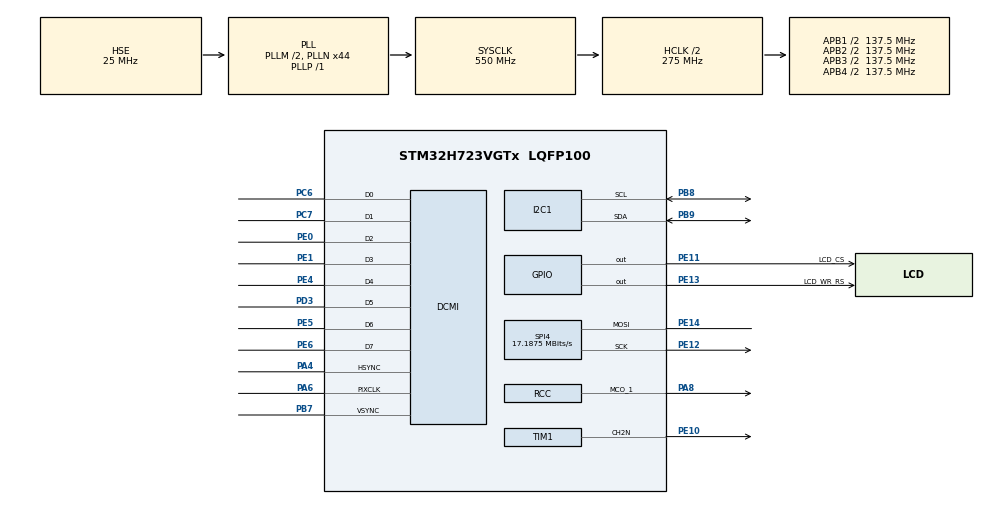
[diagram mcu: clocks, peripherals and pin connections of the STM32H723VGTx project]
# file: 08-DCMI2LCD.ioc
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CORTEX_M7.CPU_DCache=Enabled
CORTEX_M7.CPU_ICache=Enabled
CORTEX_M7.MPU_Control=__NULL
DCMI.CaptureRate=DCMI_CR_ALL_FRAME
DCMI.PCKPolarity=DCMI_PCKPOLARITY_RISING
Dma.DCMI.0.Direction=DMA_PERIPH_TO_MEMORY
Dma.DCMI.0.EventEnable=DISABLE
Dma.DCMI.0.FIFOMode=DMA_FIFOMODE_DISABLE
Dma.DCMI.0.Instance=DMA1_Stream0
Dma.DCMI.0.MemDataAlignment=DMA_MDATAALIGN_WORD
Dma.DCMI.0.MemInc=DMA_MINC_ENABLE
Dma.DCMI.0.Mode=DMA_CIRCULAR
Dma.DCMI.0.PeriphDataAlignment=DMA_PDATAALIGN_WORD
Dma.DCMI.0.PeriphInc=DMA_PINC_DISABLE
Dma.DCMI.0.Polarity=HAL_DMAMUX_REQ_GEN_RISING
Dma.DCMI.0.Priority=DMA_PRIORITY_MEDIUM
Dma.DCMI.0.RequestNumber=1
Dma.DCMI.0.SignalID=NONE
Dma.DCMI.0.SyncEnable=DISABLE
Dma.DCMI.0.SyncPolarity=HAL_DMAMUX_SYNC_NO_EVENT
Dma.DCMI.0.SyncRequestNumber=1
Dma.DCMI.0.SyncSignalID=NONE
Dma.Request0=DCMI
I2C1.Timing=0x60404E72
Mcu.Family=STM32H7
Mcu.Name=STM32H723VGTx
Mcu.Package=LQFP100
NVIC.DCMI_PSSI_IRQn=true\:0\:0\:false\:false\:true\:true\:true\:true
NVIC.DMA1_Stream0_IRQn=true\:0\:0\:false\:false\:true\:false\:true\:true
NVIC.PriorityGroup=NVIC_PRIORITYGROUP_4
PA13(JTMS/SWDIO).Mode=Serial_Wire
PA13(JTMS/SWDIO).Signal=DEBUG_JTMS-SWDIO
PA14(JTCK/SWCLK).Mode=Serial_Wire
PA14(JTCK/SWCLK).Signal=DEBUG_JTCK-SWCLK
PA4.Mode=Slave_8_bits_External_Synchro
PA4.Signal=DCMI_HSYNC
PA6.Mode=Slave_8_bits_External_Synchro
PA6.Signal=DCMI_PIXCLK
PA8.Mode=Clock-out-1
PA8.Signal=RCC_MCO_1
PB7.Mode=Slave_8_bits_External_Synchro
PB7.Signal=DCMI_VSYNC
PB8.Mode=I2C
PB8.Signal=I2C1_SCL
PB9.Mode=I2C
PB9.Signal=I2C1_SDA
PC14-OSC32_IN.Mode=LSE-External-Oscillator
PC14-OSC32_IN.Signal=RCC_OSC32_IN
PC15-OSC32_OUT.Mode=LSE-External-Oscillator
PC15-OSC32_OUT.Signal=RCC_OSC32_OUT
PC6.Mode=Slave_8_bits_External_Synchro
PC6.Signal=DCMI_D0
PC7.Mode=Slave_8_bits_External_Synchro
PC7.Signal=DCMI_D1
PD3.Mode=Slave_8_bits_External_Synchro
PD3.Signal=DCMI_D5
PE0.Mode=Slave_8_bits_External_Synchro
PE0.Signal=DCMI_D2
PE1.Mode=Slave_8_bits_External_Synchro
PE1.Signal=DCMI_D3
PE10.Mode=PWM Generation2 CH2N
PE10.Signal=TIM1_CH2N
PE11.GPIO_Label=LCD_CS
PE11.GPIO_Speed=GPIO_SPEED_FREQ_MEDIUM
PE11.Signal=GPIO_Output
PE12.GPIO_Speed=GPIO_SPEED_FREQ_MEDIUM
PE12.Mode=Simplex_Bidirectional_Master
PE12.Signal=SPI4_SCK
PE13.GPIO_Label=LCD_WR_RS
PE13.GPIO_Speed=GPIO_SPEED_FREQ_MEDIUM
PE13.Signal=GPIO_Output
PE14.GPIO_Speed=GPIO_SPEED_FREQ_MEDIUM
PE14.Mode=Simplex_Bidirectional_Master
PE14.Signal=SPI4_MOSI
PE4.Mode=Slave_8_bits_External_Synchro
PE4.Signal=DCMI_D4
PE5.Mode=Slave_8_bits_External_Synchro
PE5.Signal=DCMI_D6
PE6.Mode=Slave_8_bits_External_Synchro
PE6.Signal=DCMI_D7
PH0-OSC_IN.Mode=HSE-External-Oscillator
PH0-OSC_IN.Signal=RCC_OSC_IN
PH1-OSC_OUT.Mode=HSE-External-Oscillator
PH1-OSC_OUT.Signal=RCC_OSC_OUT
ProjectManager.HeapSize=0x800
ProjectManager.StackSize=0x1000
ProjectManager.TargetToolchain=STM32CubeIDE
RCC.ADCFreq_Value=50390625
RCC.APB1Freq_Value=137500000
RCC.APB2Freq_Value=137500000
RCC.APB3Freq_Value=137500000
RCC.APB4Freq_Value=137500000
RCC.CortexFreq_Value=550000000
RCC.D1PPRE=RCC_APB3_DIV2
RCC.D2PPRE1=RCC_APB1_DIV2
RCC.D2PPRE2=RCC_APB2_DIV2
RCC.D3PPRE=RCC_APB4_DIV2
RCC.DIVM1=2
RCC.DIVN1=44
RCC.DIVP1=1
RCC.DIVQ1=46
RCC.HCLKFreq_Value=275000000
RCC.HPRE=RCC_HCLK_DIV2
RCC.PLLFRACN=0
RCC.PLLSourceVirtual=RCC_PLLSOURCE_HSE
RCC.RCC_MCO1Source=RCC_MCO1SOURCE_HSI48
RCC.RCC_MCODiv1=RCC_MCODIV_4
RCC.RTCClockSelection=RCC_RTCCLKSOURCE_LSE
RCC.SYSCLKFreq_VALUE=550000000
RCC.SYSCLKSource=RCC_SYSCLKSOURCE_PLLCLK
RCC.USBFreq_Value=11956521.739130436
SPI4.BaudRatePrescaler=SPI_BAUDRATEPRESCALER_8
SPI4.CalculateBaudRate=17.1875 MBits/s
SPI4.DataSize=SPI_DATASIZE_8BIT
SPI4.Direction=SPI_DIRECTION_1LINE
SPI4.Mode=SPI_MODE_MASTER
SPI4.VirtualType=VM_MASTER
STMicroelectronics.X-CUBE-AI.10.2.0.ActivationBufferSizeList=68096
STMicroelectronics.X-CUBE-AI.10.2.0.ActivationBuffers=pool0
STMicroelectronics.X-CUBE-AI.10.2.0.ActivationNames=pool0
STMicroelectronics.X-CUBE-AI.10.2.0.ActivationSizes=AI_NETWORK_DATA_ACTIVATION_1_SIZE
STMicroelectronics.X-CUBE-AI.10.2.0.ApplicationCcDeviceJjApplication=ApplicationTemplate
STMicroelectronics.X-CUBE-AI.10.2.0.HeapSize=0x800
STMicroelectronics.X-CUBE-AI.10.2.0.InternalRamActivationBufferMaxSize=AI_NETWORK_DATA_ACTIVATIONS_SIZE
STMicroelectronics.X-CUBE-AI.10.2.0.LatestDirectoryUsed-fdd91566d310f4b835b26cfef3370c3eb53864cccbebf628a0d2026c270c2431=E\:\\MK Detection
STMicroelectronics.X-CUBE-AI.10.2.0.MaximumNumberOfInputLayer=1
STMicroelectronics.X-CUBE-AI.10.2.0.MaximumNumberOfOutputLayer=1
STMicroelectronics.X-CUBE-AI.10.2.0.ModelActualCompression-fdd91566d310f4b835b26cfef3370c3eb53864cccbebf628a0d2026c270c2431=0.0
STMicroelectronics.X-CUBE-AI.10.2.0.ModelCompression-fdd91566d310f4b835b26cfef3370c3eb53864cccbebf628a0d2026c270c2431=None
STMicroelectronics.X-CUBE-AI.10.2.0.ModelFlashOccupation-fdd91566d310f4b835b26cfef3370c3eb53864cccbebf628a0d2026c270c2431=40656
STMicroelectronics.X-CUBE-AI.10.2.0.ModelHashList=fdd91566d310f4b835b26cfef3370c3eb53864cccbebf628a0d2026c270c2431
STMicroelectronics.X-CUBE-AI.10.2.0.ModelKind-fdd91566d310f4b835b26cfef3370c3eb53864cccbebf628a0d2026c270c2431=TFLITE
STMicroelectronics.X-CUBE-AI.10.2.0.ModelMacc-fdd91566d310f4b835b26cfef3370c3eb53864cccbebf628a0d2026c270c2431=0
STMicroelectronics.X-CUBE-AI.10.2.0.ModelName-fdd91566d310f4b835b26cfef3370c3eb53864cccbebf628a0d2026c270c2431=network
STMicroelectronics.X-CUBE-AI.10.2.0.ModelNameList=network
STMicroelectronics.X-CUBE-AI.10.2.0.ModelRamOccupation-fdd91566d310f4b835b26cfef3370c3eb53864cccbebf628a0d2026c270c2431=68096
STMicroelectronics.X-CUBE-AI.10.2.0.ModelStructureFile-fdd91566d310f4b835b26cfef3370c3eb53864cccbebf628a0d2026c270c2431=E\:\\MK Detection\\mnist_detector_quant.tflite
STMicroelectronics.X-CUBE-AI.10.2.0.ModelType-fdd91566d310f4b835b26cfef3370c3eb53864cccbebf628a0d2026c270c2431=TFLite Micro runtime
STMicroelectronics.X-CUBE-AI.10.2.0.ReadyForCodeGeneration=true
STMicroelectronics.X-CUBE-AI.10.2.0.StackSize=0x1000
STMicroelectronics.X-CUBE-AI.10.2.0.WorkingBufferStartAddrList=0xFFFFFFFF
STMicroelectronics.X-CUBE-AI.10.2.0.XAaCUBEAaAICcArtificialOoIntelligenceJjCore=true
STMicroelectronics.X-CUBE-AI.10.2.0.copyWeightToRam=false
STMicroelectronics.X-CUBE-AI.10.2.0.customLayerConfigEnabled=false
STMicroelectronics.X-CUBE-AI.10.2.0.noOnnxIoTranspose=false
STMicroelectronics.X-CUBE-AI.10.2.0.tfliteruntime=true
STMicroelectronics.X-CUBE-AI.10.2.0.useInputAllocation=true
STMicroelectronics.X-CUBE-AI.10.2.0.useOutputAllocation=true
TIM1.Channel-PWM\ Generation2\ CH2N=TIM_CHANNEL_2
TIM1.OCNPolarity_2=TIM_OCNPOLARITY_LOW
TIM1.Period=1000-1
TIM1.Prescaler=14-1
VP_MEMORYMAP_VS_MEMORYMAP.Mode=CurAppReg
VP_RTC_VS_RTC_Activate.Mode=RTC_Enabled
VP_RTC_VS_RTC_Calendar.Mode=RTC_Calendar
VP_STMicroelectronics.X-CUBE-AI_VS_ArtificialOoIntelligenceJjXAaCUBEAaAI_10.2.0.Mode=ArtificialOoIntelligenceJjXAaCUBEAaAI
VP_STMicroelectronics.X-CUBE-AI_VS_DeviceJjApplication_10.2.0.Mode=DeviceJjApplication
board=custom

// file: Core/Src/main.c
/* USER CODE BEGIN Header */
/**
  ******************************************************************************
  * @file           : main.c
  * @brief          : Main program body
  ******************************************************************************
  * @attention
  *
  * Copyright (c) 2025 STMicroelectronics.
  * All rights reserved.
  *
  * This software is licensed under terms that can be found in the LICENSE file
  * in the root directory of this software component.
  * If no LICENSE file comes with this software, it is provided AS-IS.
  *
  ******************************************************************************
  */
/* USER CODE END Header */
#include "main.h"
#include "dcmi.h"
#include "dma.h"
#include "i2c.h"
#include "rtc.h"
#include "spi.h"
#include "tim.h"
#include "gpio.h"
#include "app_x-cube-ai.h"

/* USER CODE BEGIN Includes */
#include "board.h"
#include "lcd.h"
#include "camera.h"
#include <stdio.h>

/* USER CODE END Includes */

/* USER CODE BEGIN PV */

// Двойной буфер для кадра
#define NUM_BUFFERS 2
uint16_t camera_buffers[NUM_BUFFERS][FrameWidth][FrameHeight] __attribute__((section(".sram1")));
volatile uint32_t current_buffer = 0;
volatile uint32_t display_buffer = 0;
volatile uint32_t buffer_ready[NUM_BUFFERS] = {0};
volatile uint32_t capture_in_progress = 0;
volatile uint32_t frame_count = 0;
uint32_t Camera_FPS = 0;
uint32_t last_fps_time = 0;

/* USER CODE END PV */

void SystemClock_Config(void);
void MX_GPIO_Init(void);

/* USER CODE BEGIN PFP */
void camera_capture_next_frame(void);
void display_current_frame(uint8_t);
void check_camera_status(void);
/* USER CODE END PFP */

#include <stdarg.h>

#define LOG_BUFFER_SIZE 256
char debug_log_buffer[LOG_BUFFER_SIZE] __attribute__((section(".ccmram")));

void print_dbg(const char* fmt, ...) {
    va_list args;
    va_start(args, fmt);

    int written = vsnprintf(debug_log_buffer, LOG_BUFFER_SIZE, fmt, args);

    // Отправляем через UART, если настроен
    // Или просто оставляем в буфере для отладки
    if (written > 0) {
        debug_log_buffer[written] = '\0';
    }
    va_end(args);
}

void debug_led_blink(uint32_t count) {
    for(uint32_t i = 0; i < count; i++) {
        board_led_set(1);  // Включить LED
        HAL_Delay(100);
        board_led_set(0);  // Выключить LED
        HAL_Delay(100);
    }
}

/* USER CODE END 0 */

#include <stdint.h>

decolorize(uint16_t *usp, int count)
{
	uint16_t us, rc, gc, bc, luma;

   while (--count) {
      us = *usp;
      rc = (us >> 10) & 0x3E; /* 6-bit Red Component. */
      gc = (us >> 5) & 0x3F;  /* 6-bit Green Component. */
      bc = (us << 1) & 0x3E;  /* 6-bit Blue Component. */
      luma = (rc * 218) + (gc * 732) + (bc * 74); /* Wx*1024/10000. */
      luma = (luma >> 10) + ((luma >> 9) & 1); /* 6-bit Luminance value. */
     *usp++ = ((luma & 0x3E) << 10) | (luma << 5) | (luma >> 1); /* RGB565 */
   }
}

// Вспомогательная функция: извлекает компоненты R, G, B из RGB565
static inline void rgb562rgb(uint16_t rgb565, uint8_t *r, uint8_t *g, uint8_t *b) {
    *r = (rgb565 >> 11) & 0x1F;           // 5 бит
    *g = (rgb565 >> 5)  & 0x3F;           // 6 бит
    *b = rgb565 & 0x1F;                   // 5 бит

    // Масштабируем до 8 бит (опционально, но часто делают для точности)
    *r = (*r << 3) | (*r >> 2);           // 5 → 8 бит
    *g = (*g << 2) | (*g >> 4);           // 6 → 8 бит
    *b = (*b << 3) | (*b >> 2);           // 5 → 8 бит
}

// Основная функция
void rgb565_to_grayscale_inplace(uint16_t (*img)[120], uint8_t (*gray_out)[120]) {

	decolorize(img, 160*120);
	return;
    const int WIDTH  = 160;
    const int HEIGHT = 120;

    // Шаг 1: преобразуем в grayscale (8-битный)
    for (int y = 0; y < HEIGHT; ++y) {
        for (int x = 0; x < WIDTH; ++x) {
            uint8_t r, g, b;
            rgb562rgb(img[y][x], &r, &g, &b);

            // Яркостная формула (ITU-R BT.601)
            uint8_t gray = (uint8_t)((13933 * r + 46871 * g + 4732 * b) >> 16);
            gray_out[y][x] = gray;
        }
    }

    // Шаг 2: обратно в RGB565 (grayscale → R=G=B=gray)
    for (int y = 0; y < HEIGHT; ++y) {
        for (int x = 0; x < WIDTH; ++x) {
            uint8_t gray8 = gray_out[y][x];

            // Сжимаем 8 бит → 5/6 бит обратно
            uint8_t r5 = gray8 >> 3;            // 8 → 5 бит
            uint8_t g6 = gray8 >> 2;            // 8 → 6 бит
            uint8_t b5 = gray8 >> 3;            // 8 → 5 бит

            img[y][x] = ((uint16_t)r5 << 11) |
                        ((uint16_t)g6 << 5)  |
                        (uint16_t)b5;
        }
    }
}

#include <stdint.h>

// Функция для перестановки байтов в uint16_t
static inline uint16_t swap_bytes(uint16_t val) {
    return (val << 8) | (val >> 8);
}

void rgb565_to_grayscale_inplace_swapped(uint16_t (*img)[120], uint8_t (*gray_out)[120]) {
    const int WIDTH  = 160;
    const int HEIGHT = 120;

    for (int y = 0; y < HEIGHT; ++y) {
        for (int x = 0; x < WIDTH; ++x) {
            // === КЛЮЧЕВОЕ ИЗМЕНЕНИЕ: переставляем байты ===
            uint16_t pixel = //swap_bytes(img[y][x]);  // или: __builtin_bswap16(img[y][x]);
            		__builtin_bswap16(img[y][x]);
            // Извлекаем R5, G6, B5
            uint8_t r5 = (pixel >> 11) & 0x1F;
            uint8_t g6 = (pixel >> 5)  & 0x3F;
            uint8_t b5 = pixel & 0x1F;

            // Переводим в 8-битное grayscale (ITU-R BT.601 веса, целочисленно)
            // Y = 0.299*R + 0.587*G + 0.114*B
            // Масштабируем R,G,B до 8 бит для точности
            uint8_t r8 = (r5 << 3) | (r5 >> 2);
            uint8_t g8 = (g6 << 2) | (g6 >> 4);
            uint8_t b8 = (b5 << 3) | (b5 >> 2);

            uint8_t gray = (uint8_t)((77 * r8 + 150 * g8 + 29 * b8) >> 8); // 77+150+29 = 256

            gray_out[y][x] = gray;

            // Обратно в RGB565 (grayscale → R=G=B=gray)
            uint8_t out_r5 = gray >> 3;
            uint8_t out_g6 = gray >> 2;
            uint8_t out_b5 = gray >> 3;

            // Собираем обратно и **переставляем байты обратно**, чтобы сохранить совместимость с выводом
            uint16_t gray_pixel = (out_r5 << 11) | (out_g6 << 5) | out_b5;
            img[y][x] = swap_bytes(gray_pixel);
        }
    }
}

int main(void)
{

  /* Enable the CPU Cache */

  /* Enable I-Cache---------------------------------------------------------*/
  SCB_EnableICache();

  /* Enable D-Cache---------------------------------------------------------*/
  SCB_EnableDCache();

  /* MCU Configuration--------------------------------------------------------*/

  /* Reset of all peripherals, Initializes the Flash interface and the Systick. */
  HAL_Init();

  /* Configure the system clock */
  SystemClock_Config();

  /* Initialize all configured peripherals */
  MX_GPIO_Init();
  MX_DMA_Init();
  MX_DCMI_Init();
  MX_I2C1_Init();
  MX_RTC_Init();
  MX_SPI4_Init();
  MX_TIM1_Init();
  MX_X_CUBE_AI_Init();  // Пока оставляем, но не используем

  /* USER CODE BEGIN 2 */
  board_button_init();
  board_led_init();

  LCD_Test();

  uint8_t text[30];
  sprintf((char *)&text, "Camera Test Mode");
  LCD_ShowString(0, 58, ST7735Ctx.Width, 16, 16, text);
  HAL_Delay(1000);

  #ifdef TFT96
    Camera_Init_Device(&hi2c1, FRAMESIZE_QQVGA);
  #elif TFT18
    Camera_Init_Device(&hi2c1, FRAMESIZE_QQVGA2);
  #endif

  // Проверяем статус камеры
  check_camera_status();

  // Очищаем область сообщений
  //ST7735_LCD_Driver.FillRect(&st7735_pObj, 0, 58, ST7735Ctx.Width, 16, BLACK);
  ST7735_LCD_Driver.FillRect(&st7735_pObj, 0, 0, ST7735Ctx.Width, ST7735Ctx.Height, BLACK);

  /* Ожидаем нажатия кнопки для начала
  sprintf((char *)&text, "Press K1 to start");
  LCD_ShowString(4, 58, ST7735Ctx.Width, 16, 12, text);

  while (HAL_GPIO_ReadPin(KEY_GPIO_Port, KEY_Pin) == GPIO_PIN_SET) {
    HAL_Delay(100);
  }
  */
  // Очищаем сообщение
  ST7735_LCD_Driver.FillRect(&st7735_pObj, 0, 58, ST7735Ctx.Width, 16, BLACK);

  // Инициализируем переменные
  current_buffer = 0;
  display_buffer = 0;
  frame_count = 0;
  last_fps_time = HAL_GetTick();

  // Запускаем первый захват
  camera_capture_next_frame();

  /* USER CODE END 2 */

  /* Infinite loop */
  /* USER CODE BEGIN WHILE */
  //current_time = HAL_GetTick()
  detection_result_t Res;
  while (1)
  {
    /* USER CODE END WHILE */

    /* USER CODE BEGIN 3 */

	int Speed = 10;
    // Если буфер готов для отображения
    if (buffer_ready[display_buffer]) {

    	auto buf_copy = display_buffer;

    	buffer_ready[display_buffer] = 0;
		display_buffer = (display_buffer + 1) % NUM_BUFFERS;

		// Увеличиваем счетчик кадров
		frame_count++;

    	if (!capture_in_progress) {
    	        camera_capture_next_frame();
    	}

    	// Отображаем кадр
    	uint8_t gray_out_l[160][120];
    	//rgb565_to_grayscale_inplace(camera_buffers[display_buffer], gray_out_l);
    	//rgb565_to_grayscale_inplace_swapped(camera_buffers[display_buffer], gray_out_l);
        //display_current_frame(0);
        Res = MX_X_CUBE_AI_Process(camera_buffers[buf_copy], 0);

        if (Res.valid) {
            // Отображаем большую цифру класса слева (начало строки ~x=5)
            char cls_str[4];
            sprintf(cls_str, "%d", Res.class_id);
            LCD_ShowString(70, 20, ST7735Ctx.Width, 18, 12, cls_str); // крупный шрифт

            // Правая часть: координаты X x Y
            /*
            char coord_str[10];
            sprintf(coord_str, "%d x %d", Res.x, Res.y);
            LCD_ShowString(60, 5, ST7735Ctx.Width, 16, 12, coord_str);

            // Значение Speed под координатами
            char speed_str[12];
            sprintf(speed_str, "%lu", Speed); // если Speed — uint32_t; замени формат при необходимости
            LCD_ShowString(60, 20, ST7735Ctx.Width, 16, 12, speed_str);
            */
        } else {
            // Ничего не найдено — очищаем область или пишем прочерк
        	//ST7735_LCD_Driver.FillRect(&st7735_pObj, 0, 0, ST7735Ctx.Width, ST7735Ctx.Height, BLACK);
        	char cls_str[5] = "н.о.";
        	//LCD_ShowString(70, 20, ST7735Ctx.Width, 18, 12, cls_str); // крупный шрифт
        }

        // Переключаемся на следующий буфер для отображения

        // Обновляем FPS каждую секунду
        uint32_t current_time; //= HAL_GetTick();
        //while ((current_time = HAL_GetTick()) - last_fps_time < 1000);
        //last_fps_time = current_time;

        /*
         * current_time = HAL_GetTick();
        if (current_time - last_fps_time >= 1000) {
            Camera_FPS = frame_count;
            frame_count = 0;
            last_fps_time = current_time;

            // Выводим FPS на экран (исправлен формат для uint32_t)
            sprintf((char *)&text, "FPS: %lu", Camera_FPS);
            //LCD_ShowString(5, 5, 60, 16, 12, text);

            // Мигаем LED для индикации работы
            board_led_toggle();
        }
        */
    }

    // Если нет активного захвата и есть свободный буфер, запускаем следующий
    if (!capture_in_progress) {
        camera_capture_next_frame();
    }

    // Небольшая задержка для снижения нагрузки на CPU
    HAL_Delay(1);
  }
  /* USER CODE END 3 */
}

void SystemClock_Config(void)
{
  RCC_OscInitTypeDef RCC_OscInitStruct = {0};
  RCC_ClkInitTypeDef RCC_ClkInitStruct = {0};

  /** Supply configuration update enable
  */
  HAL_PWREx_ConfigSupply(PWR_LDO_SUPPLY);

  /** Configure the main internal regulator output voltage
  */
  __HAL_PWR_VOLTAGESCALING_CONFIG(PWR_REGULATOR_VOLTAGE_SCALE0);

  while(!__HAL_PWR_GET_FLAG(PWR_FLAG_VOSRDY)) {}

  /** Configure LSE Drive Capability
  */
  HAL_PWR_EnableBkUpAccess();
    __HAL_RCC_LSEDRIVE_CONFIG(RCC_LSEDRIVE_MEDIUMHIGH);

  /** Initializes the RCC Oscillators according to the specified parameters
  * in the RCC_OscInitTypeDef structure.
  */
  RCC_OscInitStruct.OscillatorType = RCC_OSCILLATORTYPE_HSI48|RCC_OSCILLATORTYPE_HSE
                              |RCC_OSCILLATORTYPE_LSE;
  RCC_OscInitStruct.HSEState = RCC_HSE_ON;
  RCC_OscInitStruct.LSEState = RCC_LSE_ON;
  RCC_OscInitStruct.HSI48State = RCC_HSI48_ON;
  RCC_OscInitStruct.PLL.PLLState = RCC_PLL_ON;
  RCC_OscInitStruct.PLL.PLLSource = RCC_PLLSOURCE_HSE;
  RCC_OscInitStruct.PLL.PLLM = 2;
  RCC_OscInitStruct.PLL.PLLN = 44;
  RCC_OscInitStruct.PLL.PLLP = 1;
  RCC_OscInitStruct.PLL.PLLQ = 46;
  RCC_OscInitStruct.PLL.PLLR = 2;
  RCC_OscInitStruct.PLL.PLLRGE = RCC_PLL1VCIRANGE_3;
  RCC_OscInitStruct.PLL.PLLVCOSEL = RCC_PLL1VCOWIDE;
  RCC_OscInitStruct.PLL.PLLFRACN = 0;
  if (HAL_RCC_OscConfig(&RCC_OscInitStruct) != HAL_OK)
  {
    Error_Handler();
  }

  /** Initializes the CPU, AHB and APB buses clocks
  */
  RCC_ClkInitStruct.ClockType = RCC_CLOCKTYPE_HCLK|RCC_CLOCKTYPE_SYSCLK
                              |RCC_CLOCKTYPE_PCLK1|RCC_CLOCKTYPE_PCLK2
                              |RCC_CLOCKTYPE_D3PCLK1|RCC_CLOCKTYPE_D1PCLK1;
  RCC_ClkInitStruct.SYSCLKSource = RCC_SYSCLKSOURCE_PLLCLK;
  RCC_ClkInitStruct.SYSCLKDivider = RCC_SYSCLK_DIV1;
  RCC_ClkInitStruct.AHBCLKDivider = RCC_HCLK_DIV2;
  RCC_ClkInitStruct.APB3CLKDivider = RCC_APB3_DIV2;
  RCC_ClkInitStruct.APB1CLKDivider = RCC_APB1_DIV2;
  RCC_ClkInitStruct.APB2CLKDivider = RCC_APB2_DIV2;
  RCC_ClkInitStruct.APB4CLKDivider = RCC_APB4_DIV2;

  if (HAL_RCC_ClockConfig(&RCC_ClkInitStruct, FLASH_LATENCY_3) != HAL_OK)
  {
    Error_Handler();
  }
  HAL_RCC_MCOConfig(RCC_MCO1, RCC_MCO1SOURCE_HSI48, RCC_MCODIV_4);
}

/* USER CODE BEGIN 4 */

void camera_capture_next_frame(void) {
    static uint32_t error_count = 0;

    // Находим свободный буфер
    uint32_t next_buffer = current_buffer;

    // Проверяем, свободен ли текущий буфер
    if (buffer_ready[next_buffer]) {
        // Ищем свободный буфер
        for (uint32_t i = 0; i < NUM_BUFFERS; i++) {
            if (!buffer_ready[i]) {
                next_buffer = i;
                break;
            }
        }

        // Если все буферы заняты, ждем
        if (buffer_ready[next_buffer]) {
            print_dbg("All buffers busy, skipping capture\r\n");
            return;
        }
    }

    // Инвалидируем кэш для буфера
    SCB_InvalidateDCache_by_Addr((uint32_t*)camera_buffers[next_buffer],
                                 sizeof(camera_buffers[next_buffer]));

    // Запускаем захват кадра
    HAL_StatusTypeDef status = HAL_DCMI_Start_DMA(&hdcmi,
                                                 DCMI_MODE_SNAPSHOT,
                                                 (uint32_t)camera_buffers[next_buffer],
                                                 FrameWidth * FrameHeight / 2); // 16-bit pixels

    if (status != HAL_OK) {
        print_dbg("DCMI Start error: %d\r\n", status);
        error_count++;

        // Если слишком много ошибок, перезапускаем камеру
        if (error_count > 10) {
            print_dbg("Too many errors, resetting camera\r\n");
            HAL_DCMI_DeInit(&hdcmi);
            HAL_Delay(100);
            MX_DCMI_Init();
            error_count = 0;
        }
        return;
    }

    capture_in_progress = 1;
    current_buffer = next_buffer;
    error_count = 0;

    print_dbg("Capture started on buffer %lu\r\n", current_buffer);
}

void display_current_frame(uint8_t only_cache) {
    uint32_t start_time = HAL_GetTick();

    // Инвалидируем кэш перед отображением
    SCB_InvalidateDCache_by_Addr((uint32_t*)camera_buffers[display_buffer],
                                     sizeof(camera_buffers[display_buffer]));

    if (!only_cache){
		#ifdef TFT96
			// Для TFT96 отображаем часть кадра
			ST7735_FillRGBRect(&st7735_pObj, 0, 0,
							  (uint8_t *)&camera_buffers[display_buffer][20][0],
							  ST7735Ctx.Width, 80);
		#elif TFT18
			// Для TFT18 отображаем весь кадр
			ST7735_FillRGBRect(&st7735_pObj, 0, 0,
							  (uint8_t *)&camera_buffers[display_buffer][0][0],
							  ST7735Ctx.Width, ST7735Ctx.Height);
		#endif
    }
    uint32_t display_time = HAL_GetTick() - start_time;

    // Диагностика
    static uint32_t max_display_time = 0;
    if (display_time > max_display_time) {
        max_display_time = display_time;
        print_dbg("Max display time: %lu ms\r\n", max_display_time);
    }
}

void check_camera_status(void) {
    uint8_t text[30];
    sprintf((char *)&text, "Camera ID: 0x%02X", hcamera.device_id);
    LCD_ShowString(4, 58, ST7735Ctx.Width, 16, 12, text);
    HAL_Delay(1000);

    // Простая проверка - если ID не 0, считаем камеру рабочей
    if (hcamera.device_id != 0) {
        sprintf((char *)&text, "Camera OK");
        LCD_ShowString(4, 70, ST7735Ctx.Width, 16, 12, text);
    } else {
        sprintf((char *)&text, "Camera Error!");
        LCD_ShowString(4, 70, ST7735Ctx.Width, 16, 12, text);
        debug_led_blink(5);
    }
    HAL_Delay(1000);
}

// Обработчик прерывания завершения захвата кадра
void HAL_DCMI_FrameEventCallback(DCMI_HandleTypeDef *hdcmi)
{
    // Отмечаем буфер как готовый
    buffer_ready[current_buffer] = 1;
    capture_in_progress = 0;

    // Диагностика
    static uint32_t frame_seq = 0;
    frame_seq++;
    if ((frame_seq % 30) == 0) {
        print_dbg("Frame %lu captured to buffer %lu\r\n", frame_seq, current_buffer);
    }
}

// Обработчик ошибок DCMI - упрощенный
void HAL_DCMI_ErrorCallback(DCMI_HandleTypeDef *hdcmi)
{
    capture_in_progress = 0;
    print_dbg("DCMI Error occurred\r\n");

    // Мигаем LED для индикации ошибки
    for(int i = 0; i < 3; i++) {
        board_led_set(1);
        HAL_Delay(100);
        board_led_set(0);
        HAL_Delay(100);
    }
}

/* USER CODE END 4 */

void Error_Handler(void)
{
  /* USER CODE BEGIN Error_Handler_Debug */
  /* User can add his own implementation to report the HAL error return state */

  print_dbg("Fatal error occurred!\r\n");

  __disable_irq();

  // Быстро мигаем LED
  while (1)
  {
    board_led_set(1);
    HAL_Delay(100);
    board_led_set(0);
    HAL_Delay(100);
  }
  /* USER CODE END Error_Handler_Debug */
}

#ifdef USE_FULL_ASSERT
/**
  * @brief  Reports the name of the source file and the source line number
  *         where the assert_param error has occurred.
  * @param  file: pointer to the source file name
  * @param  line: assert_param error line source number
  * @retval None
  */
void assert_failed(uint8_t *file, uint32_t line)
{
  /* USER CODE BEGIN 6 */
  /* User can add his own implementation to report the file name and line number,
     ex: printf("Wrong parameters value: file %s on line %d\r\n", file, line) */
  print_dbg("Assert failed: %s, line %lu\r\n", file, line);
  /* USER CODE END 6 */
}
#endif /* USE_FULL_ASSERT */
